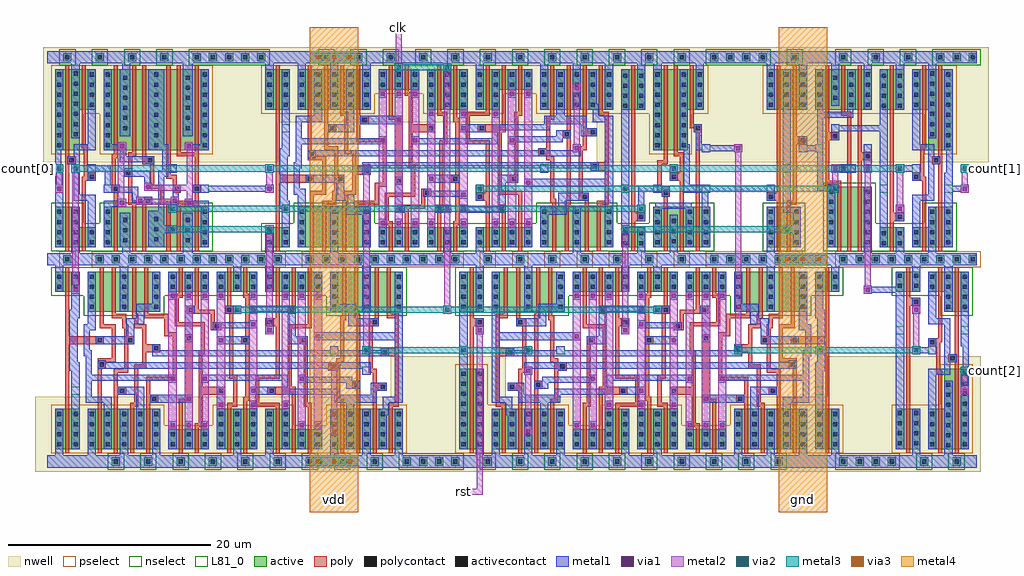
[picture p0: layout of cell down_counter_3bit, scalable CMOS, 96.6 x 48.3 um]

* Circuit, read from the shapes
.subckt down_counter_3bit clk count[0] count[1] count[2] gnd rst vdd
M1 BUFX2_1/A n1 gnd gnd nfet w=2u l=0.4u
M2 gnd n2 count[0] gnd nfet w=4u l=0.4u
M3 n2 INVX1_13/A gnd gnd nfet w=2u l=0.4u
M4 n3 vdd n4 gnd nfet w=4u l=0.4u
M5 gnd n1 n3 gnd nfet w=4u l=0.4u
M6 gnd INVX1_13/A n5 gnd nfet w=4u l=0.4u
M7 n6 DFFSR_15/R gnd gnd nfet w=4u l=0.4u
M8 n7 n8 gnd gnd nfet w=4u l=0.4u
M9 DFFSR_8/D INVX1_13/A n7 gnd nfet w=4u l=0.4u
M10 n1 n9 n6 gnd nfet w=4u l=0.4u
M11 n10 n5 DFFSR_8/D gnd nfet w=4u l=0.4u
M12 gnd BUFX2_1/A n10 gnd nfet w=4u l=0.4u
M13 n9 n11 n4 gnd nfet w=2u l=0.4u
M14 n12 n13 n9 gnd nfet w=2u l=0.4u
M15 n8 BUFX2_1/A gnd gnd nfet w=4u l=0.4u
M16 gnd clk n11 gnd nfet w=2u l=0.4u
M17 n13 n11 gnd gnd nfet w=2u l=0.4u
M18 n14 DFFSR_8/D gnd gnd nfet w=2u l=0.4u
M19 INVX1_13/A n15 gnd gnd nfet w=2u l=0.4u
M20 n16 n11 n14 gnd nfet w=2u l=0.4u
M21 n17 n13 n16 gnd nfet w=2u l=0.4u
M22 n18 vdd n19 gnd nfet w=4u l=0.4u
M23 gnd n15 n18 gnd nfet w=4u l=0.4u
M24 n20 vdd n12 gnd nfet w=4u l=0.4u
M25 n21 DFFSR_15/R gnd gnd nfet w=4u l=0.4u
M26 gnd n16 n20 gnd nfet w=4u l=0.4u
M27 n15 n22 n21 gnd nfet w=4u l=0.4u
M28 n23 n12 gnd gnd nfet w=4u l=0.4u
M29 n17 DFFSR_15/R n23 gnd nfet w=4u l=0.4u
M30 n22 n24 n19 gnd nfet w=2u l=0.4u
M31 n25 n26 n22 gnd nfet w=2u l=0.4u
M32 gnd clk n24 gnd nfet w=2u l=0.4u
M33 n26 n24 gnd gnd nfet w=2u l=0.4u
M34 gnd rst DFFSR_15/R gnd nfet w=4u l=0.4u
M35 n27 NAND2X1_17/A gnd gnd nfet w=2u l=0.4u
M36 n28 n24 n27 gnd nfet w=2u l=0.4u
M37 n29 DFFSR_15/R n30 gnd nfet w=4u l=0.4u
M38 gnd n31 n29 gnd nfet w=4u l=0.4u
M39 n32 n26 n28 gnd nfet w=2u l=0.4u
M40 n33 n34 gnd gnd nfet w=4u l=0.4u
M41 n31 vdd n33 gnd nfet w=4u l=0.4u
M42 n35 vdd n25 gnd nfet w=4u l=0.4u
M43 gnd n28 n35 gnd nfet w=4u l=0.4u
M44 n34 n36 n30 gnd nfet w=2u l=0.4u
M45 n37 n25 gnd gnd nfet w=4u l=0.4u
M46 n32 DFFSR_15/R n37 gnd nfet w=4u l=0.4u
M47 n38 n39 n34 gnd nfet w=2u l=0.4u
M48 gnd DFFSR_15/D n38 gnd nfet w=2u l=0.4u
M49 gnd INVX1_13/A NAND2X1_17/A gnd nfet w=2u l=0.4u
M50 gnd n39 n36 gnd nfet w=2u l=0.4u
M51 n39 clk gnd gnd nfet w=2u l=0.4u
M52 gnd INVX1_13/A n40 gnd nfet w=4u l=0.4u
M53 n40 BUFX2_1/A gnd gnd nfet w=4u l=0.4u
M54 n41 n36 n31 gnd nfet w=2u l=0.4u
M55 n42 BUFX2_24/A n40 gnd nfet w=4u l=0.4u
M56 n43 n39 n41 gnd nfet w=2u l=0.4u
M57 n44 n41 n45 gnd nfet w=4u l=0.4u
M58 gnd DFFSR_15/R n44 gnd nfet w=4u l=0.4u
M59 n46 n42 gnd gnd nfet w=4u l=0.4u
M60 n47 n45 gnd gnd nfet w=4u l=0.4u
M61 DFFSR_15/D n48 n46 gnd nfet w=4u l=0.4u
M62 n43 vdd n47 gnd nfet w=4u l=0.4u
M63 gnd n45 BUFX2_24/A gnd nfet w=2u l=0.4u
M64 n49 NAND3X1_14/C n48 gnd nfet w=6u l=0.4u
M65 n50 NAND2X1_17/A n49 gnd nfet w=6u l=0.4u
M66 gnd NAND3X1_14/A n50 gnd nfet w=6u l=0.4u
M67 gnd BUFX2_1/A NAND3X1_14/C gnd nfet w=2u l=0.4u
M68 gnd BUFX2_24/A NAND3X1_14/A gnd nfet w=2u l=0.4u
M69 gnd BUFX2_1/A n51 gnd nfet w=2u l=0.4u
M70 gnd BUFX2_24/A n52 gnd nfet w=2u l=0.4u
M71 count[1] n51 gnd gnd nfet w=4u l=0.4u
M72 count[2] n52 gnd gnd nfet w=4u l=0.4u
M73 BUFX2_1/A n1 vdd vdd pfet w=4u l=0.4u
M74 vdd n2 count[0] vdd pfet w=8u l=0.4u
M75 n2 INVX1_13/A vdd vdd pfet w=4u l=0.4u
M76 n4 vdd vdd vdd pfet w=4u l=0.4u
M77 vdd n1 n4 vdd pfet w=4u l=0.4u
M78 vdd INVX1_13/A n5 vdd pfet w=8u l=0.4u
M79 n1 DFFSR_15/R vdd vdd pfet w=4u l=0.4u
M80 n53 n8 vdd vdd pfet w=8u l=0.4u
M81 DFFSR_8/D n5 n53 vdd pfet w=8u l=0.4u
M82 vdd n9 n1 vdd pfet w=4u l=0.4u
M83 n54 INVX1_13/A DFFSR_8/D vdd pfet w=8u l=0.4u
M84 vdd BUFX2_1/A n54 vdd pfet w=8u l=0.4u
M85 n9 n13 n4 vdd pfet w=2u l=0.4u
M86 n12 n11 n9 vdd pfet w=2u l=0.4u
M87 n8 BUFX2_1/A vdd vdd pfet w=8u l=0.4u
M88 vdd clk n11 vdd pfet w=4u l=0.4u
M89 n13 n11 vdd vdd pfet w=4u l=0.4u
M90 n14 DFFSR_8/D vdd vdd pfet w=4u l=0.4u
M91 INVX1_13/A n15 vdd vdd pfet w=4u l=0.4u
M92 n16 n13 n14 vdd pfet w=2u l=0.4u
M93 n17 n11 n16 vdd pfet w=2u l=0.4u
M94 n19 vdd vdd vdd pfet w=4u l=0.4u
M95 vdd n15 n19 vdd pfet w=4u l=0.4u
M96 n12 vdd vdd vdd pfet w=4u l=0.4u
M97 n15 DFFSR_15/R vdd vdd pfet w=4u l=0.4u
M98 vdd n16 n12 vdd pfet w=4u l=0.4u
M99 vdd n22 n15 vdd pfet w=4u l=0.4u
M100 n17 n12 vdd vdd pfet w=4u l=0.4u
M101 vdd DFFSR_15/R n17 vdd pfet w=4u l=0.4u
M102 n22 n26 n19 vdd pfet w=2u l=0.4u
M103 n25 n24 n22 vdd pfet w=2u l=0.4u
M104 vdd clk n24 vdd pfet w=4u l=0.4u
M105 n26 n24 vdd vdd pfet w=4u l=0.4u
M106 vdd rst DFFSR_15/R vdd pfet w=8u l=0.4u
M107 n27 NAND2X1_17/A vdd vdd pfet w=4u l=0.4u
M108 n30 DFFSR_15/R vdd vdd pfet w=4u l=0.4u
M109 n28 n26 n27 vdd pfet w=2u l=0.4u
M110 vdd n31 n30 vdd pfet w=4u l=0.4u
M111 n32 n24 n28 vdd pfet w=2u l=0.4u
M112 n31 n34 vdd vdd pfet w=4u l=0.4u
M113 vdd vdd n31 vdd pfet w=4u l=0.4u
M114 n25 vdd vdd vdd pfet w=4u l=0.4u
M115 vdd n28 n25 vdd pfet w=4u l=0.4u
M116 n34 n39 n30 vdd pfet w=2u l=0.4u
M117 n32 n25 vdd vdd pfet w=4u l=0.4u
M118 n38 n36 n34 vdd pfet w=2u l=0.4u
M119 vdd DFFSR_15/R n32 vdd pfet w=4u l=0.4u
M120 vdd DFFSR_15/D n38 vdd pfet w=4u l=0.4u
M121 vdd INVX1_13/A NAND2X1_17/A vdd pfet w=4u l=0.4u
M122 vdd n39 n36 vdd pfet w=4u l=0.4u
M123 n39 clk vdd vdd pfet w=4u l=0.4u
M124 n55 INVX1_13/A vdd vdd pfet w=8u l=0.4u
M125 n42 BUFX2_1/A n55 vdd pfet w=8u l=0.4u
M126 vdd BUFX2_24/A n42 vdd pfet w=4u l=0.4u
M127 n41 n39 n31 vdd pfet w=2u l=0.4u
M128 n43 n36 n41 vdd pfet w=2u l=0.4u
M129 n45 n41 vdd vdd pfet w=4u l=0.4u
M130 vdd DFFSR_15/R n45 vdd pfet w=4u l=0.4u
M131 n43 n45 vdd vdd pfet w=4u l=0.4u
M132 DFFSR_15/D n42 vdd vdd pfet w=4u l=0.4u
M133 vdd vdd n43 vdd pfet w=4u l=0.4u
M134 vdd n48 DFFSR_15/D vdd pfet w=4u l=0.4u
M135 vdd n45 BUFX2_24/A vdd pfet w=4u l=0.4u
M136 vdd NAND3X1_14/C n48 vdd pfet w=4u l=0.4u
M137 n48 NAND2X1_17/A vdd vdd pfet w=4u l=0.4u
M138 vdd NAND3X1_14/A n48 vdd pfet w=4u l=0.4u
M139 vdd BUFX2_1/A NAND3X1_14/C vdd pfet w=4u l=0.4u
M140 vdd BUFX2_24/A NAND3X1_14/A vdd pfet w=4u l=0.4u
M141 vdd BUFX2_1/A n51 vdd pfet w=4u l=0.4u
M142 vdd BUFX2_24/A n52 vdd pfet w=4u l=0.4u
M143 count[1] n51 vdd vdd pfet w=8u l=0.4u
M144 count[2] n52 vdd vdd pfet w=8u l=0.4u
.ends

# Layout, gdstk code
from math import pi, radians
import gdstk
lib = gdstk.Library(unit=1e-6, precision=1e-09)
def R(c, l, rs):  # rectangles x0, y0, x1, y1
    for r in rs: c.add(gdstk.rectangle(r[:2], r[2:], *l))
def A(c, l, x, y, w, h, nx, ny, dx, dy):  # array of equal rectangles
    R(c, l, [(x+i*dx, y+j*dy, x+i*dx+w, y+j*dy+h) for i in range(nx) for j in range(ny)])
via3 = (30, 0)
metal4 = (31, 0)
nwell = (42, 0)
active = (43, 0)
pselect = (44, 0)
nselect = (45, 0)
poly = (46, 0)
polycontact = (47, 0)
activecontact = (48, 0)
metal1 = (49, 0)
via1 = (50, 0)
metal2 = (51, 0)
via2 = (61, 0)
metal3 = (62, 0)
L81_0 = (81, 0)

xnor2x1 = lib.new_cell('XNOR2X1')
R(xnor2x1, nwell, [(-1.6,9.6,12.8,21)])
A(xnor2x1, active, -0.4, -0.4, 0.8, 0.8, 4, 2, 3.2, 20)
R(xnor2x1, active, [(0.4,1.2,10.8,5.2), (0.4,10.8,10.8,18.8)])
A(xnor2x1, pselect, -0.8, -0.8, 1.6, 1.6, 4, 1, 3.2, 0)
R(xnor2x1, pselect, [(0,10.4,11.2,19.2)])
A(xnor2x1, nselect, -0.8, 19.2, 1.6, 1.6, 4, 1, 3.2, 0)
R(xnor2x1, nselect, [(0,0.8,11.2,5.6)])
R(xnor2x1, poly, [(1.4,0.8,1.8,6.6), (3.2,0.8,3.6,5.4), (4.2,0.8,4.6,5.4), (6.6,0.8,7,5.4), (7.6,0.8,8,5.4), (9.4,0.8,9.8,5.4), (2.8,5.4,3.6,5.8), (4.2,5.4,5.2,5.8), (6,5.4,7,5.8), (7.6,5.4,9.8,5.8), (2.8,5.8,3.2,8.2), (4.4,5.8,5.2,6.2), (6,5.8,6.4,7), (9.4,5.8,9.8,6.6), (1.2,6.6,2,7.4), (7.2,6.6,8,7.4), (9.2,6.6,10,7.4), (5,7,6.4,7.4), (1.2,7.4,1.6,10), (5,7.4,5.4,9.4), (7.2,7.4,7.6,8), (9.4,7.4,9.8,10.2), (6.6,8,7.6,8.4), (2.4,8.2,3.2,9), (6.6,8.4,7,19.2), (2.8,9,3.2,10.2), (4.2,9.4,5.4,10.2), (1.2,10,1.8,10.4), (2.8,10.2,3.6,10.6), (4.2,10.2,4.6,19.2), (7.6,10.2,9.8,10.6), (1.4,10.4,1.8,19.2), (3.2,10.6,3.6,19.2), (7.6,10.6,8,19.2), (9.4,10.6,9.8,19.2)])
R(xnor2x1, polycontact, [(4.6,5.6,5,6), (1.4,6.8,1.8,7.2), (7.4,6.8,7.8,7.2), (9.4,6.8,9.8,7.2), (2.6,8.4,3,8.8), (4.8,9.6,5.2,10)])
A(xnor2x1, activecontact, -0.2, -0.2, 0.4, 0.4, 4, 2, 3.2, 20)
A(xnor2x1, activecontact, 0.6, 1.5, 0.4, 0.4, 1, 4, 0, 1)
A(xnor2x1, activecontact, 10.2, 1.5, 0.4, 0.4, 1, 4, 0, 1)
A(xnor2x1, activecontact, 2.3, 1.7, 0.4, 0.4, 1, 3, 0, 1)
A(xnor2x1, activecontact, 8.5, 1.7, 0.4, 0.4, 1, 3, 0, 1)
A(xnor2x1, activecontact, 5.4, 1.8, 0.4, 0.4, 1, 3, 0, 1)
A(xnor2x1, activecontact, 0.6, 11.1, 0.4, 0.4, 3, 8, 4.8, 1)
A(xnor2x1, activecontact, 2.3, 12.8, 0.4, 0.4, 1, 6, 0, 1)
A(xnor2x1, activecontact, 8.5, 12.8, 0.4, 0.4, 1, 6, 0, 1)
R(xnor2x1, metal1, [(-0.4,-0.6,11.6,0.6), (2.2,0.6,3,1.2), (8.2,0.6,9.2,4.6), (0.4,1.2,1.2,5.2), (2,1.2,3,4.6), (4.8,1.2,6.4,4.8), (10,1.2,10.8,5.2), (5.8,4.8,6.4,8.2), (0.4,5.2,2.6,5.8), (8.4,5.2,10.8,5.8), (3.6,5.4,5.2,5.6), (7,5.4,7.8,6.2), (3.2,5.6,5.2,6.2), (1.8,5.8,2.6,6), (8.4,5.8,9.2,6), (3.2,6.2,3.8,6.6), (7.2,6.2,7.8,6.6), (0.4,6.6,3.8,7.2), (7.2,6.6,8,7.4), (9.2,6.6,10.8,7.4), (4.4,6.8,5.2,7.6), (0.4,7.2,2,7.4), (4.4,7.6,5,8.2), (2.4,8.2,5,8.8), (5.8,8.2,6.8,8.6), (5.8,8.6,7.6,8.8), (2.4,8.8,3.2,9), (6.2,8.8,7.6,9.4), (4.6,9.4,5.4,9.6), (6.2,9.4,6.8,10.8), (2,9.6,5.4,10.2), (2,10.2,2.6,10.8), (0.4,10.8,2.6,11.4), (4.8,10.8,6.8,11.4), (8.4,10.8,10.8,11.4), (0.4,11.4,1.2,18.8), (1.8,11.4,2.6,11.6), (4.8,11.4,6.4,18.8), (8.4,11.4,9.2,11.6), (10,11.4,10.8,18.8), (2,12.2,3,18.8), (8.2,12.2,9.2,19.4), (2.2,18.8,3,19.4), (-0.4,19.4,11.6,20.6)])
R(xnor2x1, via1, [(2,5.4,2.4,5.8), (8.6,5.4,9,5.8), (3.8,5.6,4.2,6), (7.2,5.6,7.6,6), (4.6,7,5,7.4), (2,11,2.4,11.4), (8.6,11,9,11.4)])
R(xnor2x1, metal2, [(1.8,5.2,2.6,6), (8.4,5.2,9.2,6), (3.6,5.4,7.8,6), (1.8,6,2.4,10.8), (3.6,6,4.4,6.2), (7,6,7.8,6.2), (8.6,6,9.2,6.8), (4.4,6.8,9.2,7.4), (4.4,7.4,5.2,7.6), (8.6,7.4,9.2,10.8), (1.8,10.8,2.6,11.6), (8.4,10.8,9.2,11.6)])
R(xnor2x1, L81_0, [(0.4,6.6,1.2,7.4), (10,6.6,10.8,7.4), (6.8,8.6,7.6,9.4)])
xnor2x1.add(gdstk.Label('A', (0.8,7), layer=109, texttype=0))
xnor2x1.add(gdstk.Label('B', (10.4,7), layer=109, texttype=0))
xnor2x1.add(gdstk.Label('gnd', (0.8,0), layer=109, texttype=0))
xnor2x1.add(gdstk.Label('vdd', (0.8,20), layer=109, texttype=0))
xnor2x1.add(gdstk.Label('Y', (7.2,9), layer=109, texttype=0))

bufx2 = lib.new_cell('BUFX2')
R(bufx2, nwell, [(-1,9.6,5.6,21)])
R(bufx2, active, [(-0.4,-0.4,0.4,0.4), (2.8,-0.4,3.6,0.4), (0.4,1.2,4.4,3.2), (2,3.2,4.4,5.2), (2,10.8,4.4,14.8), (0.4,14.8,4.4,18.8), (-0.4,19.6,0.4,20.4), (2.8,19.6,3.6,20.4)])
R(bufx2, pselect, [(-0.8,-0.8,0.8,0.8), (2.4,-0.8,4,0.8), (1.6,10.4,4.8,14.4), (0,14.4,4.8,19.2)])
R(bufx2, nselect, [(0,0.8,4.8,3.6), (1.6,3.6,4.8,5.6), (-0.8,19.2,0.8,20.8), (2.4,19.2,4,20.8)])
R(bufx2, poly, [(1.4,0.8,1.8,7.8), (3,0.8,3.4,9.4), (0.4,7.8,1.8,8.2), (0.4,8.2,1.6,8.6), (1.2,8.6,1.6,11), (2.4,9.4,3.4,10.2), (3,10.2,3.4,19.2), (1.2,11,1.8,11.4), (1.4,11.4,1.8,19.2)])
R(bufx2, polycontact, [(0.6,8,1,8.4), (2.6,9.6,3,10)])
A(bufx2, activecontact, 0.6, 1.5, 0.4, 0.4, 3, 2, 1.6, 1)
A(bufx2, activecontact, 3.8, 11.1, 0.4, 0.4, 1, 8, 0, 1)
A(bufx2, activecontact, 2.2, 12.2, 0.4, 0.4, 1, 7, 0, 1)
A(bufx2, activecontact, 0.6, 15.1, 0.4, 0.4, 1, 4, 0, 1)
R(bufx2, activecontact, [(-0.2,-0.2,0.2,0.2), (3,-0.2,3.4,0.2), (2.2,3.5,2.6,3.9), (3.8,3.5,4.2,3.9), (2.2,4.5,2.6,4.9), (3.8,4.5,4.2,4.9), (-0.2,19.8,0.2,20.2), (3,19.8,3.4,20.2)])
R(bufx2, metal1, [(-0.4,-0.6,5.2,0.6), (2,0.6,2.8,5.2), (0.4,1.2,1.2,5.8), (3.6,1.2,4.4,8.6), (0.4,5.8,2.6,6.4), (2,6.4,2.6,9.4), (0.4,7.8,1.2,9.4), (3.8,8.6,4.4,10.8), (2,9.4,3.2,10.2), (2,10.2,2.6,10.8), (0.4,10.8,2.6,11.4), (3.6,10.8,4.4,18.8), (0.4,11.4,1.2,18.8), (2,12,2.8,19.4), (-0.4,19.4,5.2,20.6)])
R(bufx2, L81_0, [(3.6,6.6,4.4,7.4), (0.4,8.6,1.2,9.4)])
bufx2.add(gdstk.Label('vdd', (0.8,20), layer=109, texttype=0))
bufx2.add(gdstk.Label('gnd', (0.8,0), layer=109, texttype=0))
bufx2.add(gdstk.Label('A', (0.8,9), layer=109, texttype=0))
bufx2.add(gdstk.Label('Y', (4,7), layer=109, texttype=0))

fill = lib.new_cell('FILL')
R(fill, nwell, [(-1.6,9.6,3.2,21)])
R(fill, active, [(-0.4,-0.4,0.4,0.4), (1.2,-0.4,2,0.4), (-0.4,19.6,0.4,20.4), (1.2,19.6,2,20.4)])
R(fill, pselect, [(-0.8,-0.8,2.4,0.8)])
R(fill, nselect, [(-0.8,19.2,2.4,20.8)])
R(fill, activecontact, [(-0.2,-0.2,0.2,0.2), (1.4,-0.2,1.8,0.2), (-0.2,19.8,0.2,20.2), (1.4,19.8,1.8,20.2)])
R(fill, metal1, [(-0.4,-0.6,2,0.6), (-0.4,19.4,2,20.6)])
fill.add(gdstk.Label('vdd', (0.8,20), layer=109, texttype=0))
fill.add(gdstk.Label('gnd', (0.8,0), layer=109, texttype=0))

dffsr = lib.new_cell('DFFSR')
R(dffsr, nwell, [(-1.6,13.6,36.8,21)])
A(dffsr, active, -0.4, -0.4, 0.8, 0.8, 10, 2, 3.2, 20)
R(dffsr, active, [(0.4,1.2,7.6,5.2), (8.4,1.2,14,3.2), (14.8,1.2,18.8,3.2), (19.6,1.2,23.6,3.2), (24.4,1.2,31.6,5.2), (32.4,1.2,34.8,3.2), (0.4,14.8,7.6,18.8), (11.6,14.8,14,16.8), (14.8,14.8,18.8,18.8), (24.4,14.8,31.6,18.8), (32.4,14.8,34.8,18.8), (8.4,16.8,14,18.8), (19.6,16.8,23.6,18.8)])
A(dffsr, pselect, -0.8, -0.8, 1.6, 1.6, 10, 1, 3.2, 0)
R(dffsr, pselect, [(0,14.4,8,16.4), (11.2,14.4,19.2,16.4), (24,14.4,35.2,16.4), (0,16.4,35.2,19.2)])
A(dffsr, nselect, -0.8, 19.2, 1.6, 1.6, 10, 1, 3.2, 0)
R(dffsr, nselect, [(0,0.8,35.2,3.6), (0,3.6,8,5.6), (24,3.6,32,5.6)])
R(dffsr, poly, [(1.6,0.8,2,5.4), (2.8,0.8,3.2,5.8), (4.8,0.8,5.2,5.4), (6,0.8,6.4,5.6), (9.4,0.8,9.8,6.4), (11,0.8,11.4,4.6), (12.6,0.8,13,5.8), (15.8,0.8,16.2,3.4), (17.4,0.8,17.8,4.6), (20.6,0.8,21,4.6), (22.2,0.8,22.6,3.4), (25.6,0.8,26,5.4), (26.8,0.8,27.2,5.4), (28.8,0.8,29.2,5.4), (30,0.8,30.4,6.4), (33.4,0.8,33.8,7.6), (15.6,3.4,16.2,3.8), (22.2,3.4,23,3.8), (15.6,3.8,16,4.6), (22.6,3.8,23,6.2), (11,4.6,11.8,5.4), (14.8,4.6,16,5.4), (17.2,4.6,18,5.4), (20.6,4.6,21.8,5), (19,5,21.8,5.4), (0.8,5.4,2,5.8), (4.6,5.4,5.2,5.8), (15.6,5.4,16,7.6), (17.2,5.4,17.6,11.4), (19,5.4,19.4,6.2), (23.6,5.4,26,5.8), (26.6,5.4,27.2,5.8), (27.8,5.4,29.2,5.8), (6,5.6,6.6,6), (0.8,5.8,1.2,8.8), (2.8,5.8,3.8,6.6), (4.6,5.8,5,12), (12.6,5.8,14,6.6), (23.6,5.8,24,7.2), (26.6,5.8,27,6.4), (27.8,5.8,28.2,6.4), (6.2,6,6.6,9.8), (18.4,6.2,19.4,7), (20,6.2,23,6.6), (9.4,6.4,11.8,6.8), (25.8,6.4,27,6.8), (27.6,6.4,28.2,6.8), (28.8,6.4,30.4,6.8), (3.4,6.6,3.8,10.8), (12.6,6.6,13,11.4), (20,6.6,20.4,9), (11.4,6.8,11.8,12.6), (25.8,6.8,26.2,8.4), (27.6,6.8,28,7.6), (28.8,6.8,29.2,9.8), (22.8,7.2,24,7.6), (21.2,7.4,22,13.8), (9.8,7.6,10.6,8.4), (15.6,7.6,16.4,8.4), (22.8,7.6,23.2,11.6), (27,7.6,28,8.4), (30,7.6,33.8,8.4), (9.8,8.4,10.2,14.2), (15.6,8.4,16,13.6), (24.4,8.4,26.2,9.2), (27.6,8.4,28,10.8), (33.4,8.4,33.8,19.2), (0.8,8.8,2.6,9.6), (20,9,20.6,9.4), (25.8,9.2,26.2,10.4), (20.2,9.4,20.6,12.6), (0.8,9.6,1.2,14.2), (6.2,9.8,7,10.2), (28.8,9.8,30.6,10.2), (6.6,10.2,7.8,11), (29.8,10.2,30.6,10.8), (25.8,10.4,27,10.8), (3,10.8,3.8,11.2), (26.6,10.8,27,14.2), (27.6,10.8,29,11.2), (30.2,10.8,30.6,19.2), (6.6,11,7,13.8), (3,11.2,3.4,12.2), (28.6,11.2,29,12.6), (12.6,11.4,15,11.8), (16.8,11.4,17.6,11.8), (22.8,11.6,25.8,12), (14.6,11.8,15,14.2), (16.8,11.8,17.2,14.2), (4.6,12,5.4,12.8), (25.4,12,25.8,13.4), (2,12.2,3.4,13), (11,12.6,13.8,13.4), (18,12.6,20.6,13.4), (27.8,12.6,29,13.4), (4.6,12.8,5,19.2), (3,13,3.4,19.2), (11,13.4,11.4,19.2), (20.2,13.4,20.6,16.2), (24.6,13.4,25.8,14.2), (28.6,13.4,29,19.2), (15.6,13.6,16.2,14), (6.2,13.8,7,14.2), (21.2,13.8,22.6,14.2), (15.8,14,16.2,19.2), (0.8,14.2,1.8,14.6), (6.2,14.2,6.6,19.2), (9.4,14.2,10.2,14.6), (12.6,14.2,15,14.6), (16.8,14.2,17.8,14.6), (22.2,14.2,22.6,19.2), (25.4,14.2,25.8,19.2), (26.6,14.2,27.4,14.6), (1.4,14.6,1.8,19.2), (9.4,14.6,9.8,19.2), (12.6,14.6,13,19.2), (17.4,14.6,17.8,19.2), (27,14.6,27.4,19.2), (20.2,16.2,21,16.6), (20.6,16.6,21,19.2)])
R(dffsr, polycontact, [(11.2,4.8,11.6,5.2), (15,4.8,15.4,5.2), (17.4,4.8,17.8,5.2), (21.2,4.8,21.6,5.2), (3,6,3.4,6.4), (13.4,6,13.8,6.4), (18.6,6.4,19,6.8), (21.4,7.6,21.8,8), (10,7.8,10.4,8.2), (15.8,7.8,16.2,8.2), (27.2,7.8,27.6,8.2), (30.2,7.8,30.6,8.2), (24.6,8.6,25,9), (2,9,2.4,9.4), (30,10.2,30.4,10.6), (7.2,10.4,7.6,10.8), (4.8,12.2,5.2,12.6), (2.2,12.4,2.6,12.8), (13.2,12.8,13.6,13.2), (18.2,12.8,18.6,13.2), (28,12.8,28.4,13.2), (24.8,13.6,25.2,14)])
A(dffsr, activecontact, -0.2, -0.2, 0.4, 0.4, 10, 2, 3.2, 20)
A(dffsr, activecontact, 0.6, 1.5, 0.4, 0.4, 3, 4, 3.2, 1)
A(dffsr, activecontact, 8.6, 1.5, 0.4, 0.4, 11, 2, 1.6, 1)
A(dffsr, activecontact, 31, 1.5, 0.4, 0.4, 3, 2, 1.6, 1)
A(dffsr, activecontact, 24.6, 3.5, 0.4, 0.4, 3, 2, 3.2, 1)
A(dffsr, activecontact, 0.6, 15.1, 0.4, 0.4, 5, 2, 1.6, 1)
A(dffsr, activecontact, 11.8, 15.1, 0.4, 0.4, 5, 2, 1.6, 1)
A(dffsr, activecontact, 24.6, 15.1, 0.4, 0.4, 7, 2, 1.6, 1)
A(dffsr, activecontact, 0.6, 17.1, 0.4, 0.4, 22, 2, 1.6, 1)
R(dffsr, activecontact, [(27.8,1.5,28.2,1.9), (27.8,2.5,28.2,2.9)])
A(dffsr, metal1, 8.4, 1.2, 0.8, 2.8, 3, 1, 1.6, 0)
A(dffsr, metal1, 18, 1.2, 0.8, 2.8, 4, 1, 1.6, 0)
A(dffsr, metal1, 0.4, 14.8, 0.8, 4.6, 3, 1, 3.2, 0)
A(dffsr, metal1, 24.4, 14.8, 0.8, 4.6, 4, 1, 3.2, 0)
A(dffsr, metal1, 19.6, 16, 0.8, 2.8, 3, 1, 1.6, 0)
R(dffsr, metal1, [(-0.4,-0.6,35.6,0.6), (3.6,0.6,4.4,5.2), (13.2,0.6,14,3.2), (16.4,0.6,17.2,3.2), (27.6,0.6,28.4,5.2), (34,0.6,34.8,3.2), (0.4,1.2,1.2,7.2), (6.8,1.2,7.6,4.4), (14.8,1.2,15.6,4), (24.4,1.2,25.2,4.4), (30.8,1.2,31.6,6.4), (32.4,1.2,33.2,5), (5,4.4,7.6,5.2), (24.4,4.4,26.8,5.2), (11,4.6,15.6,5.2), (16.4,4.6,18,5.4), (21,4.6,22,5.4), (32.4,5,33.4,5.8), (5,5.2,5.8,5.8), (11,5.2,11.8,7.6), (14.8,5.2,15.6,5.4), (26,5.2,26.8,5.8), (21.2,5.4,22,8.2), (2.8,5.8,5.8,6.6), (13.2,5.8,14,7.4), (26,5.8,27.8,6.4), (32.6,5.8,33.4,10.2), (14.8,6,15.6,6.2), (14.8,6.2,19.2,6.8), (27,6.4,27.8,7.6), (30.8,6.4,32,7), (18.4,6.8,19.2,7), (31.4,7,32,9), (0.4,7.2,9.2,8), (9.8,7.6,11.8,8.4), (15.6,7.6,18.8,8.4), (27,7.6,30.8,8.4), (0.4,8,1.2,13.6), (24.4,8.4,25.2,9), (6.8,8.6,7.6,9), (1.8,8.8,2.6,9), (1.8,9,25.2,9.6), (31.2,9,32,9.6), (31.2,9.6,31.8,11.4), (29.8,10,30.6,10.2), (3.6,10.2,30.6,10.8), (32.4,10.2,33.4,11), (3.6,10.8,4.4,11.4), (7,10.8,7.8,11), (32.4,11,33.2,18.8), (10,11.4,10.8,11.6), (11.8,11.4,20.4,12), (22.8,11.4,31.8,12), (5.4,11.6,10.8,12), (4.6,12,10.8,12.2), (11.8,12,12.4,12.8), (19.6,12,20.4,12.2), (22.8,12,23.6,12.2), (31.2,12,31.8,13.6), (2,12.2,3.6,13), (4.6,12.2,6,12.8), (13,12.6,15.6,13.4), (18,12.6,18.8,18.8), (26,12.6,28.6,13.4), (6.6,12.8,12.4,13.4), (3,13,3.6,13.4), (3,13.4,7.2,14.2), (21.2,13.4,25.4,14.2), (26,13.4,26.8,18.8), (0.4,13.6,2.4,14.2), (29.2,13.6,31.8,14.2), (11.6,14,12.4,18.8), (14.8,14,15.6,18.8), (1.8,14.2,2.4,14.8), (5.2,14.2,6,18.8), (29.2,14.2,30,18.8), (1.8,14.8,2.8,15.4), (13.2,14.8,14,19.4), (16.4,14.8,17.2,19.4), (2,15.4,2.8,18.8), (8.4,16,9.2,18.8), (10,16,10.8,18.8), (-0.4,19.4,35.6,20.6)])
A(dffsr, via1, 8.6, 3.4, 0.4, 0.4, 3, 1, 1.6, 0)
A(dffsr, via1, 18.2, 3.4, 0.4, 0.4, 4, 1, 1.6, 0)
A(dffsr, via1, 11.8, 14.2, 0.4, 0.4, 3, 1, 3.2, 0)
A(dffsr, via1, 19.8, 16.2, 0.4, 0.4, 3, 1, 1.6, 0)
R(dffsr, via1, [(15,3.4,15.4,3.8), (15,6.2,15.4,6.6), (8.6,7.4,9,7.8), (18.2,7.8,18.6,8.2), (10.2,11.6,10.6,12), (19.8,11.6,20.2,12), (23,11.6,23.4,12), (15,12.8,15.4,13.2), (21.4,13.6,21.8,14), (8.6,16.2,9,16.6), (10.2,16.2,10.6,16.6)])
A(dffsr, metal2, 11.6, 3.2, 0.8, 11.6, 3, 1, 3.2, 0)
A(dffsr, metal2, 19.6, 3.2, 0.8, 13.6, 3, 1, 1.6, 0)
R(dffsr, metal2, [(8.4,3.2,9.2,16.8), (10,3.2,10.8,16.8)])
R(dffsr, L81_0, [(16.4,4.6,17.2,5.4), (13.2,6.6,14,7.4), (6.8,8.6,7.6,9.4), (3.6,10.6,4.4,11.4), (32.4,12.6,33.2,13.4)])
dffsr.add(gdstk.Label('gnd', (0.8,0), layer=109, texttype=0))
dffsr.add(gdstk.Label('vdd', (0.8,20), layer=109, texttype=0))
dffsr.add(gdstk.Label('D', (13.6,7), layer=109, texttype=0))
dffsr.add(gdstk.Label('S', (4,11), layer=109, texttype=0))
dffsr.add(gdstk.Label('R', (7.2,9), layer=109, texttype=0))
dffsr.add(gdstk.Label('Q', (32.8,13), layer=109, texttype=0))
dffsr.add(gdstk.Label('CLK', (16.8,5), layer=109, texttype=0))

invx1 = lib.new_cell('INVX1')
R(invx1, nwell, [(-1.8,9.6,5.2,21)])
R(invx1, active, [(-0.4,-0.4,0.4,0.4), (0.4,1.2,2.8,3.2), (0.4,14.8,2.8,18.8), (-0.4,19.6,0.4,20.4)])
R(invx1, pselect, [(-0.8,-0.8,0.8,0.8), (0,14.4,3.2,19.2)])
R(invx1, nselect, [(0,0.8,3.2,3.6), (-0.8,19.2,0.8,20.8)])
R(invx1, poly, [(1.4,0.8,1.8,3.8), (0.4,3.8,1.8,4.6), (1.4,4.6,1.8,19.2)])
R(invx1, polycontact, [(0.6,4,1,4.4)])
A(invx1, activecontact, 0.6, 15, 0.4, 0.4, 1, 4, 0, 1)
A(invx1, activecontact, 2.2, 15, 0.4, 0.4, 1, 4, 0, 1)
R(invx1, activecontact, [(-0.2,-0.2,0.2,0.2), (0.6,1.4,1,1.8), (2.2,1.4,2.6,1.8), (0.6,2.4,1,2.8), (2.2,2.4,2.6,2.8), (-0.2,19.8,0.2,20.2)])
R(invx1, metal1, [(-0.4,-0.6,3.6,0.6), (0.4,0.6,1.2,3.2), (2,1.2,2.8,18.8), (0.4,3.8,1.2,5.4), (0.4,14.8,1.2,19.4), (-0.4,19.4,3.6,20.6)])
R(invx1, L81_0, [(0.4,4.6,1.2,5.4), (2,6.6,2.8,7.4)])
invx1.add(gdstk.Label('A', (0.8,5), layer=109, texttype=0))
invx1.add(gdstk.Label('Y', (2.4,7), layer=109, texttype=0))
invx1.add(gdstk.Label('vdd', (0.8,20), layer=109, texttype=0))
invx1.add(gdstk.Label('gnd', (0.8,0), layer=109, texttype=0))

nand3x1 = lib.new_cell('NAND3X1')
R(nand3x1, nwell, [(-1.6,9.6,8,21)])
R(nand3x1, active, [(-0.4,-0.4,0.4,0.4), (2.8,-0.4,3.6,0.4), (0.4,1.2,4.8,7.2), (0.4,14.8,6,18.8), (-0.4,19.6,0.4,20.4), (2.8,19.6,3.6,20.4)])
R(nand3x1, pselect, [(-0.8,-0.8,0.8,0.8), (2.4,-0.8,4,0.8), (0,14.4,6.4,19.2)])
R(nand3x1, nselect, [(0,0.8,5.2,7.6), (-0.8,19.2,0.8,20.8), (2.4,19.2,4,20.8)])
R(nand3x1, poly, [(1.4,0.8,1.8,9.8), (2.4,0.8,2.8,8.6), (3.4,0.8,3.8,7.4), (3.4,7.4,5,7.8), (4.6,7.8,5,11.8), (2.4,8.6,3.6,9.4), (2.4,9.4,2.8,14.2), (0.4,9.8,1.8,10.6), (1.4,10.6,1.8,19.2), (3.6,11.8,5,12.6), (4.6,12.6,5,19.2), (2.4,14.2,3.4,14.6), (3,14.6,3.4,19.2)])
R(nand3x1, polycontact, [(3,8.8,3.4,9.2), (0.6,10,1,10.4), (3.8,12,4.2,12.4)])
A(nand3x1, activecontact, 0.6, 1.5, 0.4, 0.4, 1, 6, 0, 1)
A(nand3x1, activecontact, 4.2, 1.5, 0.4, 0.4, 1, 6, 0, 1)
A(nand3x1, activecontact, 0.6, 15.1, 0.4, 0.4, 1, 4, 0, 1)
A(nand3x1, activecontact, 2.2, 15.1, 0.4, 0.4, 1, 4, 0, 1)
A(nand3x1, activecontact, 5.4, 15.1, 0.4, 0.4, 1, 4, 0, 1)
A(nand3x1, activecontact, 3.8, 15.8, 0.4, 0.4, 1, 3, 0, 1)
R(nand3x1, activecontact, [(-0.2,-0.2,0.2,0.2), (3,-0.2,3.4,0.2), (-0.2,19.8,0.2,20.2), (3,19.8,3.4,20.2)])
R(nand3x1, metal1, [(-0.4,-0.6,6.8,0.6), (0.4,0.6,1.2,7.2), (4,1.2,4.8,6.8), (4,6.8,5.8,7.2), (4.2,7.2,5.8,7.4), (5.2,7.4,5.8,10.6), (2,8.6,3.6,9.4), (0.4,9.8,1.2,11.4), (5.2,10.6,6,11.4), (5.2,11.4,5.8,14), (3.6,11.8,4.4,13.4), (2.2,14,5.8,14.6), (2.2,14.6,2.8,14.8), (5.2,14.6,5.8,14.8), (0.4,14.8,1.2,19.4), (2,14.8,2.8,18.8), (5.2,14.8,6,18.8), (3.6,15.2,4.4,19.4), (-0.4,19.4,6.8,20.6)])
R(nand3x1, L81_0, [(2,8.6,2.8,9.4), (0.4,10.6,1.2,11.4), (5.2,10.6,6,11.4), (3.6,12.6,4.4,13.4)])
nand3x1.add(gdstk.Label('B', (2.4,9), layer=109, texttype=0))
nand3x1.add(gdstk.Label('vdd', (0.8,20), layer=109, texttype=0))
nand3x1.add(gdstk.Label('gnd', (0.8,0), layer=109, texttype=0))
nand3x1.add(gdstk.Label('A', (0.8,11), layer=109, texttype=0))
nand3x1.add(gdstk.Label('C', (4,13), layer=109, texttype=0))
nand3x1.add(gdstk.Label('Y', (5.6,11), layer=109, texttype=0))

oai21x1 = lib.new_cell('OAI21X1')
R(oai21x1, nwell, [(-1.6,9.6,6.8,21)])
R(oai21x1, active, [(-0.4,-0.4,0.4,0.4), (2.8,-0.4,3.6,0.4), (0.4,1.2,6,5.2), (0.4,10.8,3.8,14.8), (0.4,14.8,5.4,18.8), (-0.4,19.6,0.4,20.4), (2.8,19.6,3.6,20.4)])
R(oai21x1, pselect, [(-0.8,-0.8,0.8,0.8), (2.4,-0.8,4,0.8), (0,10.4,4.2,14.4), (0,14.4,5.8,19.2)])
R(oai21x1, nselect, [(0,0.8,6.4,5.6), (-0.8,19.2,0.8,20.8), (2.4,19.2,4,20.8)])
R(oai21x1, poly, [(1.4,0.8,1.8,6.2), (3,0.8,3.4,7.8), (4.6,0.8,5,12.6), (1.2,6.2,2,6.6), (0.8,6.6,2,7), (0.8,7,1.2,9.4), (2,7.8,3.4,8.6), (3,8.6,3.4,10.2), (0.8,9.4,1.8,9.8), (1.4,9.8,1.8,19.2), (2.4,10.2,3.4,10.6), (2.4,10.6,2.8,19.2), (4.4,12.6,5.2,13), (4,13,5.2,13.4), (4,13.4,4.4,19.2)])
R(oai21x1, polycontact, [(1.4,6.4,1.8,6.8), (2.2,8,2.6,8.4), (4.6,12.8,5,13.2)])
A(oai21x1, activecontact, 0.6, 1.5, 0.4, 0.4, 1, 4, 0, 1)
A(oai21x1, activecontact, 3.8, 1.5, 0.4, 0.4, 1, 4, 0, 1)
A(oai21x1, activecontact, 5.4, 1.5, 0.4, 0.4, 1, 4, 0, 1)
A(oai21x1, activecontact, 2.2, 1.6, 0.4, 0.4, 1, 3, 0, 1)
A(oai21x1, activecontact, 0.6, 11.1, 0.4, 0.4, 1, 8, 0, 1)
A(oai21x1, activecontact, 3.2, 11.1, 0.4, 0.4, 1, 8, 0, 1)
A(oai21x1, activecontact, 4.8, 15.1, 0.4, 0.4, 1, 4, 0, 1)
R(oai21x1, activecontact, [(-0.2,-0.2,0.2,0.2), (3,-0.2,3.4,0.2), (-0.2,19.8,0.2,20.2), (3,19.8,3.4,20.2)])
R(oai21x1, metal1, [(-0.4,-0.6,6.8,0.6), (2,0.6,2.8,4.4), (0.4,1.2,1.2,5), (3.6,1.2,4.4,5), (5.2,1.2,6,5.2), (0.4,5,4.4,5.2), (0.6,5.2,4.2,5.6), (5.2,5.2,5.8,6.6), (1.2,6.2,2,6.6), (0.4,6.6,2,7.2), (3.4,6.6,6,7.4), (0.4,7.2,1.2,7.4), (3.4,7.4,4,10.8), (2,7.8,2.8,9.4), (5.2,10.6,6,10.8), (0.4,10.8,1.2,19.4), (3,10.8,4,11.4), (4.6,10.8,6,11.4), (3,11.4,3.8,18.8), (4.6,11.4,5.2,12.6), (4.4,12.6,5.2,13.4), (4.6,14.8,5.4,19.4), (-0.4,19.4,6.8,20.6)])
R(oai21x1, L81_0, [(0.4,6.6,1.2,7.4), (5.2,6.6,6,7.4), (2,8.6,2.8,9.4), (5.2,10.6,6,11.4)])
oai21x1.add(gdstk.Label('gnd', (0.8,0), layer=109, texttype=0))
oai21x1.add(gdstk.Label('vdd', (0.8,20), layer=109, texttype=0))
oai21x1.add(gdstk.Label('A', (0.8,7), layer=109, texttype=0))
oai21x1.add(gdstk.Label('B', (2.4,9), layer=109, texttype=0))
oai21x1.add(gdstk.Label('Y', (5.6,7), layer=109, texttype=0))
oai21x1.add(gdstk.Label('C', (5.6,11), layer=109, texttype=0))

nand2x1 = lib.new_cell('NAND2X1')
R(nand2x1, nwell, [(-1.6,9.6,6.4,21)])
R(nand2x1, active, [(-0.4,-0.4,0.4,0.4), (2.8,-0.4,3.6,0.4), (0.4,1.2,3.8,5.2), (0.4,14.8,4.4,18.8), (-0.4,19.6,0.4,20.4), (2.8,19.6,3.6,20.4)])
R(nand2x1, pselect, [(-0.8,-0.8,0.8,0.8), (2.4,-0.8,4,0.8), (0,14.4,4.8,19.2)])
R(nand2x1, nselect, [(0,0.8,4.2,5.6), (-0.8,19.2,0.8,20.8), (2.4,19.2,4,20.8)])
R(nand2x1, poly, [(1.4,0.8,1.8,5.8), (2.4,0.8,2.8,5.4), (2.4,5.4,3.4,5.8), (0.4,5.8,1.8,6.6), (3,5.8,3.4,11.4), (1.4,6.6,1.8,19.2), (3,11.4,4.4,12.2), (3,12.2,3.4,19.2)])
R(nand2x1, polycontact, [(0.6,6,1,6.4), (3.8,11.6,4.2,12)])
A(nand2x1, activecontact, 0.6, 1.5, 0.4, 0.4, 1, 4, 0, 1)
A(nand2x1, activecontact, 3.2, 1.5, 0.4, 0.4, 1, 4, 0, 1)
A(nand2x1, activecontact, 0.6, 15.1, 0.4, 0.4, 3, 4, 1.6, 1)
R(nand2x1, activecontact, [(-0.2,-0.2,0.2,0.2), (3,-0.2,3.4,0.2), (-0.2,19.8,0.2,20.2), (3,19.8,3.4,20.2)])
R(nand2x1, metal1, [(-0.4,-0.6,5.2,0.6), (0.4,0.6,1.2,5.2), (3,1.2,3.8,4.6), (2,4.6,3.8,5.2), (2,5.2,2.8,18.8), (0.4,5.8,1.2,7.4), (3.6,10.6,4.4,12.2), (0.4,14.8,1.2,19.4), (3.6,14.8,4.4,19.4), (-0.4,19.4,5.2,20.6)])
R(nand2x1, L81_0, [(0.4,6.6,1.2,7.4), (2,8.6,2.8,9.4), (3.6,10.6,4.4,11.4)])
nand2x1.add(gdstk.Label('vdd', (0.8,20), layer=109, texttype=0))
nand2x1.add(gdstk.Label('Y', (2.4,9), layer=109, texttype=0))
nand2x1.add(gdstk.Label('gnd', (0.8,0), layer=109, texttype=0))
nand2x1.add(gdstk.Label('A', (0.8,7), layer=109, texttype=0))
nand2x1.add(gdstk.Label('B', (4,11), layer=109, texttype=0))

invx2 = lib.new_cell('INVX2')
R(invx2, nwell, [(-1.8,9.6,5.2,21)])
R(invx2, active, [(-0.4,-0.4,0.4,0.4), (0.4,1.2,2.8,5.2), (0.4,10.8,2.8,18.8), (-0.4,19.6,0.4,20.4)])
R(invx2, pselect, [(-0.8,-0.8,0.8,0.8), (0,10.4,3.2,19.2)])
R(invx2, nselect, [(0,0.8,3.2,5.6), (-0.8,19.2,0.8,20.8)])
R(invx2, poly, [(1.4,0.8,1.8,5.8), (0.4,5.8,1.8,6.6), (1.4,6.6,1.8,19.2)])
R(invx2, polycontact, [(0.6,6,1,6.4)])
A(invx2, activecontact, 0.6, 1.5, 0.4, 0.4, 1, 4, 0, 1)
A(invx2, activecontact, 2.2, 1.5, 0.4, 0.4, 1, 4, 0, 1)
A(invx2, activecontact, 0.6, 11.1, 0.4, 0.4, 1, 8, 0, 1)
A(invx2, activecontact, 2.2, 11.1, 0.4, 0.4, 1, 8, 0, 1)
R(invx2, activecontact, [(-0.2,-0.2,0.2,0.2), (-0.2,19.8,0.2,20.2)])
R(invx2, metal1, [(-0.4,-0.6,3.6,0.6), (0.4,0.6,1.2,5.2), (2,1.2,2.8,18.8), (0.4,5.8,1.2,7.4), (0.4,10.8,1.2,19.4), (-0.4,19.4,3.6,20.6)])
R(invx2, L81_0, [(0.4,6.6,1.2,7.4), (2,8.6,2.8,9.4)])
invx2.add(gdstk.Label('vdd', (0.8,20), layer=109, texttype=0))
invx2.add(gdstk.Label('gnd', (0.8,0), layer=109, texttype=0))
invx2.add(gdstk.Label('Y', (2.4,9), layer=109, texttype=0))
invx2.add(gdstk.Label('A', (0.8,7), layer=109, texttype=0))

down_counter_3bit = lib.new_cell('down_counter_3bit')
A(down_counter_3bit, via3, 27, 0.8, 0.4, 0.4, 3, 2, 1.6, 40)
A(down_counter_3bit, via3, 73.4, 20.8, 0.4, 0.4, 3, 1, 1.6, 0)
R(down_counter_3bit, metal4, [(26.4,-4,31.2,44), (72.8,-4,77.6,44)])
R(down_counter_3bit, metal1, [(26.4,0.6,31.2,1.4), (28.4,3.6,29.2,4.4), (47.6,3.6,48.4,4.4), (90.8,7.6,91.6,8.4), (47.6,9.6,48.4,10.4), (28.4,10,29.2,10.8), (31.6,11.6,32.4,12.4), (41.2,11.6,42,12.4), (47.6,11.6,48.4,12.4), (76.6,11.6,77.4,12.4), (86,11.6,86.8,11.7), (86,11.7,88.3,12.3), (86,12.3,86.8,12.4), (22,13.6,22.8,14.4), (42.8,13.6,43.6,14.4), (57.2,13.6,58,14.4), (18.8,15.6,19.6,16.4), (60.4,15.6,61.2,16.4), (86,15.6,86.8,16.4), (2.8,17.6,3.6,18.4), (81.2,17.6,82,17.7), (81.2,17.7,85.1,18.3), (81.2,18.3,82,18.4), (72.8,20.6,77.6,21.4), (12,23.6,13.2,24.4), (73.2,23.6,74.2,24.4), (23.6,25.6,24.4,26.4), (39.6,25.6,40.4,26.4), (58.8,25.6,59.6,26.4), (84.4,25.6,85.2,26.4), (58.9,26.4,59.5,27.7), (1.2,27.6,2,28.4), (22,27.6,22.8,27.7), (42.8,27.6,43.6,28.4), (57.2,27.6,58,28.4), (90.8,27.6,91.6,27.7), (6.1,27.7,6.7,29.7), (15.7,27.7,22.8,28.3), (58.9,27.7,61.1,28.3), (65.3,27.7,72.3,28.3), (89.3,27.7,91.6,28.3), (22,28.3,22.8,28.4), (90.8,28.3,91.6,28.4), (31.6,29.6,32.4,30.4), (62,29.6,62.8,30.4), (78,29.6,78.8,30.4), (81.2,29.6,82,30.8), (84.4,29.6,85.2,29.7), (4.5,29.7,6.7,30.3), (84.4,29.7,86.7,30.3), (84.4,30.3,85.2,30.4), (52.4,31.6,53.2,32.4), (68.4,31.6,69.2,31.7), (65.3,31.7,69.2,32.3), (74.9,31.7,77.1,32.3), (68.4,32.3,69.2,32.4), (78.1,33.7,83.5,34.3), (52.4,37.6,53.2,38.4), (26.4,40.6,31.2,41.4)])
A(down_counter_3bit, via1, 27.2, 0.8, 0.4, 0.4, 3, 2, 1.4, 40)
A(down_counter_3bit, via1, 73.6, 20.8, 0.4, 0.4, 3, 1, 1.4, 0)
A(down_counter_3bit, via1, 1.4, 27.8, 0.4, 0.4, 3, 1, 20.8, 0)
A(down_counter_3bit, via1, 78.2, 29.8, 0.4, 0.4, 3, 1, 3.2, 0)
R(down_counter_3bit, via1, [(28.6,3.8,29,4.2), (47.8,3.8,48.2,4.2), (91,7.8,91.4,8.2), (47.8,9.8,48.2,10.2), (28.6,10.2,29,10.6), (31.8,11.8,32.2,12.2), (41.4,11.8,41.8,12.2), (47.8,11.8,48.2,12.2), (76.8,11.8,77.2,12.2), (86.2,11.8,86.6,12.2), (22.2,13.8,22.6,14.2), (43,13.8,43.4,14.2), (57.4,13.8,57.8,14.2), (19,15.8,19.4,16.2), (60.6,15.8,61,16.2), (86.2,15.8,86.6,16.2), (3,17.8,3.4,18.2), (81.4,17.8,81.8,18.2), (12.6,23.8,13,24.2), (73.4,23.8,73.8,24.2), (23.8,25.8,24.2,26.2), (39.8,25.8,40.2,26.2), (59,25.8,59.4,26.2), (84.6,25.8,85,26.2), (57.4,27.8,57.8,28.2), (91,27.8,91.4,28.2), (31.8,29.8,32.2,30.2), (62.2,29.8,62.6,30.2), (52.6,31.8,53,32.2), (68.6,31.8,69,32.2), (52.6,37.8,53,38.2)])
A(down_counter_3bit, metal2, 18.8, 15.6, 0.8, 0.8, 3, 1, 20.8, 0)
A(down_counter_3bit, metal2, 1.2, 27.6, 0.8, 0.8, 3, 1, 20.8, 0)
A(down_counter_3bit, metal2, 78, 29.6, 0.8, 0.8, 3, 1, 3.2, 0)
R(down_counter_3bit, metal2, [(41.3,-2.3,43.5,-1.7), (42.9,-1.7,43.5,13.6), (26.4,0.6,31.2,1.4), (28.4,3.6,29.2,4.4), (47.6,3.6,48.4,4.4), (28.5,4.4,29.1,10), (47.7,4.4,48.3,9.6), (90.8,7.6,91.6,8.4), (90.9,8.4,91.5,9.6), (47.6,9.6,48.4,10.4), (90.8,9.6,91.6,10.4), (28.4,10,29.2,10.8), (31.6,11.6,32.4,12.4), (41.2,11.6,42,12.4), (47.6,11.6,48.4,12.4), (68.4,11.6,69.2,12.4), (76.4,11.6,77.4,12.4), (86,11.6,86.8,12.4), (31.7,12.4,32.3,29.6), (68.5,12.4,69.1,31.6), (86.1,12.4,86.7,15.6), (22,13.6,22.8,14.4), (42.8,13.6,43.6,14.4), (57.2,13.6,58,14.4), (22.1,14.4,22.7,23.6), (57.3,14.4,57.9,23.6), (86,15.6,86.8,16.4), (39.7,16.4,40.3,25.6), (2.8,17.6,3.6,18.4), (81.2,17.6,82,18.4), (2.9,18.4,3.5,29.6), (81.3,18.4,81.9,29.6), (72.8,20.6,77.6,21.4), (12.4,23.6,13.2,24.4), (22,23.6,22.8,24.4), (57.2,23.6,58,24.4), (73.2,23.6,74,24.4), (12.4,25.6,13.2,27), (23.6,25.6,24.4,26.4), (39.6,25.6,40.4,26.4), (58.8,25.6,59.6,26.4), (84.4,25.6,85.2,26.4), (39.7,26.4,40.3,39.6), (84.5,26.4,85.1,29.6), (57.2,27.6,58,28.4), (78,27.6,78.8,28.4), (90.8,27.6,91.6,28.4), (1.3,28.4,1.9,29.6), (22.1,28.4,22.7,29.6), (78.1,28.4,78.7,29.6), (90.9,28.4,91.5,29.6), (1.2,29.6,2,30.4), (2.8,29.6,3.6,30.4), (22,29.6,22.8,30.4), (31.6,29.6,32.4,30.4), (62,29.6,62.8,30.4), (90.8,29.6,91.6,30.4), (52.4,31.6,53.2,32.4), (68.4,31.6,69.2,32.4), (52.5,32.4,53.1,37.6), (52.4,37.6,53.2,38.4), (34.8,39.6,35.6,40.4), (39.6,39.6,40.4,40.4), (34.9,40.4,35.5,44.3), (26.4,40.6,31.2,41.4)])
A(down_counter_3bit, via2, 27.2, 0.8, 0.4, 0.4, 3, 2, 1.4, 40)
A(down_counter_3bit, via2, 19, 15.8, 0.4, 0.4, 3, 1, 20.8, 0)
A(down_counter_3bit, via2, 73.6, 20.8, 0.4, 0.4, 3, 1, 1.4, 0)
R(down_counter_3bit, via2, [(91,9.8,91.4,10.2), (31.8,11.8,32.2,12.2), (41.4,11.8,41.8,12.2), (47.8,11.8,48.2,12.2), (68.6,11.8,69,12.2), (76.6,11.8,77,12.2), (86.2,11.8,86.6,12.2), (12.6,23.8,13,24.2), (22.2,23.8,22.6,24.2), (57.4,23.8,57.8,24.2), (73.4,23.8,73.8,24.2), (12.6,25.8,13,26.2), (23.8,25.8,24.2,26.2), (59,25.8,59.4,26.2), (43,27.8,43.4,28.2), (57.4,27.8,57.8,28.2), (78.2,27.8,78.6,28.2), (1.4,29.8,1.8,30.2), (3,29.8,3.4,30.2), (22.2,29.8,22.6,30.2), (62.2,29.8,62.6,30.2), (84.6,29.8,85,30.2), (91,29.8,91.4,30.2), (35,39.8,35.4,40.2), (39.8,39.8,40.2,40.2)])
A(down_counter_3bit, metal3, 18.8, 15.6, 0.8, 0.1, 3, 2, 20.8, 0.7)
R(down_counter_3bit, metal3, [(26.4,0.4,31.2,1.6), (90.8,9.6,91.6,9.7), (90.8,9.7,94.7,10.3), (90.8,10.3,91.6,10.4), (31.6,11.6,32.4,11.7), (41.2,11.6,42,11.7), (47.6,11.6,48.4,11.7), (68.4,11.6,69.2,11.7), (76.4,11.6,77.2,11.7), (86,11.6,86.8,11.7), (31.6,11.7,48.4,12.3), (68.4,11.7,86.8,12.3), (31.6,12.3,32.4,12.4), (41.2,12.3,42,12.4), (47.6,12.3,48.4,12.4), (68.4,12.3,69.2,12.4), (76.4,12.3,77.2,12.4), (86,12.3,86.8,12.4), (18.8,15.7,61.2,16.3), (72.8,20.4,77.6,21.6), (12.4,23.6,13.2,23.7), (22,23.6,22.8,23.7), (57.2,23.6,58,23.7), (73.2,23.6,74,23.7), (12.4,23.7,22.8,24.3), (57.2,23.7,74,24.3), (12.4,24.3,13.2,24.4), (22,24.3,22.8,24.4), (57.2,24.3,58,24.4), (73.2,24.3,74,24.4), (12.4,25.6,13.2,25.7), (23.6,25.6,24.4,25.7), (58.8,25.6,59.6,25.7), (12.4,25.7,59.6,26.3), (12.4,26.3,13.2,26.4), (23.6,26.3,24.4,26.4), (58.8,26.3,59.6,26.4), (42.8,27.6,43.6,27.7), (57.2,27.6,58,27.7), (78,27.6,78.8,27.7), (42.8,27.7,78.8,28.3), (42.8,28.3,43.6,28.4), (57.2,28.3,58,28.4), (78,28.3,78.8,28.4), (1.2,29.6,2,29.7), (2.8,29.6,3.6,29.7), (22,29.6,22.8,29.7), (62,29.6,62.8,29.7), (84.4,29.6,85.2,29.7), (90.8,29.6,91.6,29.7), (-1.9,29.7,2,30.3), (2.8,29.7,85.2,30.3), (90.8,29.7,94.7,30.3), (1.2,30.3,2,30.4), (2.8,30.3,3.6,30.4), (22,30.3,22.8,30.4), (62,30.3,62.8,30.4), (84.4,30.3,85.2,30.4), (90.8,30.3,91.6,30.4), (34.8,39.6,35.6,39.7), (39.6,39.6,40.4,39.7), (34.8,39.7,40.4,40.3), (34.8,40.3,35.6,40.4), (39.6,40.3,40.4,40.4), (26.4,40.4,31.2,41.6)])
down_counter_3bit.add(gdstk.Reference(xnor2x1, (5.6,21)))
down_counter_3bit.add(gdstk.Reference(bufx2, (5.6,21), rotation=pi, x_reflection=True))
down_counter_3bit.add(gdstk.Reference(fill, (18.4,21), rotation=pi, x_reflection=True))
down_counter_3bit.add(gdstk.Reference(fill, (20,21), rotation=pi, x_reflection=True))
down_counter_3bit.add(gdstk.Reference(fill, (21.6,21), rotation=pi, x_reflection=True))
down_counter_3bit.add(gdstk.Reference(fill, (37.6,21), rotation=pi))
down_counter_3bit.add(gdstk.Reference(fill, (40.8,21), rotation=pi))
down_counter_3bit.add(gdstk.Reference(fill, (39.2,21), rotation=pi))
down_counter_3bit.add(gdstk.Reference(dffsr, (36,21), rotation=pi))
down_counter_3bit.add(gdstk.Reference(dffsr, (56.8,21), rotation=pi, x_reflection=True))
down_counter_3bit.add(gdstk.Reference(fill, (66.4,21)))
down_counter_3bit.add(gdstk.Reference(fill, (68,21)))
down_counter_3bit.add(gdstk.Reference(fill, (69.6,21)))
down_counter_3bit.add(gdstk.Reference(invx1, (60,21), rotation=pi, x_reflection=True))
down_counter_3bit.add(gdstk.Reference(nand3x1, (82.4,21), rotation=pi, x_reflection=True))
down_counter_3bit.add(gdstk.Reference(dffsr, (44,21), x_reflection=True))
down_counter_3bit.add(gdstk.Reference(oai21x1, (60,21)))
down_counter_3bit.add(gdstk.Reference(nand2x1, (71.2,21)))
down_counter_3bit.add(gdstk.Reference(invx2, (44,21), rotation=pi))
down_counter_3bit.add(gdstk.Reference(fill, (90.4,21)))
down_counter_3bit.add(gdstk.Reference(fill, (84,21), rotation=pi))
down_counter_3bit.add(gdstk.Reference(fill, (82.4,21), rotation=pi))
down_counter_3bit.add(gdstk.Reference(fill, (80.8,21), rotation=pi))
down_counter_3bit.add(gdstk.Reference(bufx2, (85.6,21)))
down_counter_3bit.add(gdstk.Reference(bufx2, (87.2,21), x_reflection=True))
down_counter_3bit.add(gdstk.Reference(invx1, (85.6,21), rotation=pi, x_reflection=True))
down_counter_3bit.add(gdstk.Reference(invx1, (87.2,21), rotation=pi))
down_counter_3bit.add(gdstk.Label('vdd', (28.8,-2.8), layer=31, texttype=0))
down_counter_3bit.add(gdstk.Label('gnd', (75.2,-2.8), layer=31, texttype=0))
down_counter_3bit.add(gdstk.Label('clk', (35.2,44), layer=51, texttype=0))
down_counter_3bit.add(gdstk.Label('rst', (41.6,-2), layer=51, texttype=0))
down_counter_3bit.add(gdstk.Label('count[0]', (-1.6,30), layer=62, texttype=0))
down_counter_3bit.add(gdstk.Label('count[1]', (94.4,30), layer=62, texttype=0))
down_counter_3bit.add(gdstk.Label('count[2]', (94.4,10), layer=62, texttype=0))

lib.write_gds('down_counter_3bit.gds')
